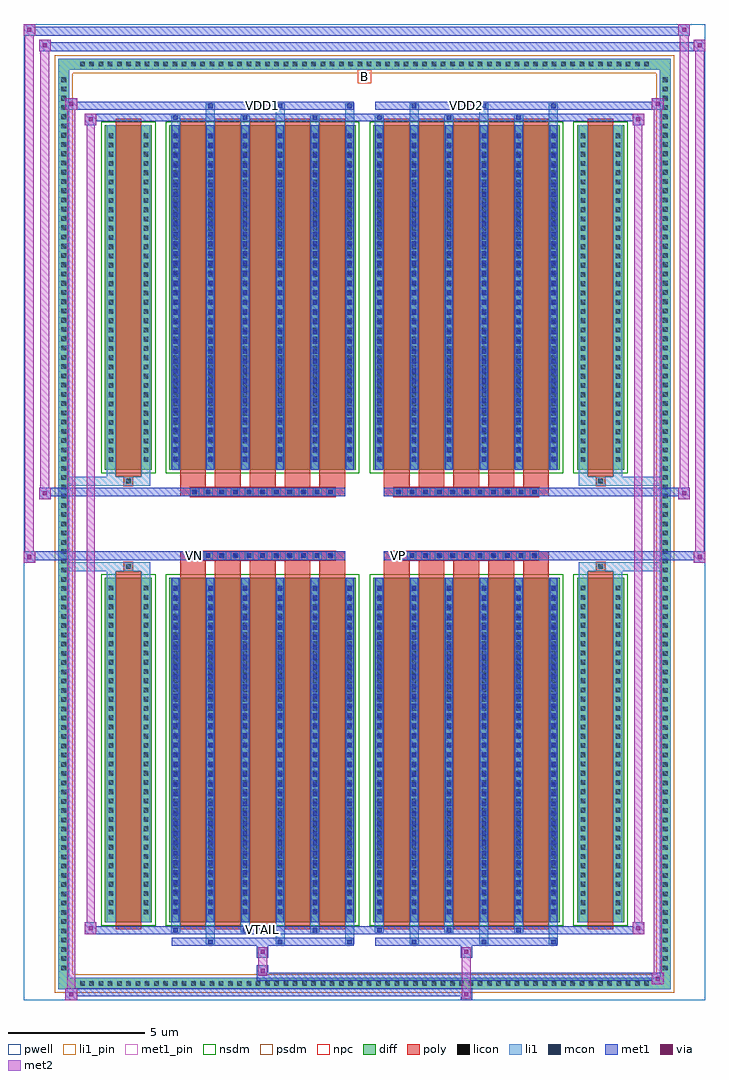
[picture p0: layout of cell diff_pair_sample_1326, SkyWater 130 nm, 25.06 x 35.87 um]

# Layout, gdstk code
import gdstk
lib = gdstk.Library(unit=1e-6, precision=5e-09)
def R(c, l, rs):  # rectangles x0, y0, x1, y1
    for r in rs: c.add(gdstk.rectangle(r[:2], r[2:], *l))
def A(c, l, x, y, w, h, nx, ny, dx, dy):  # array of equal rectangles
    R(c, l, [(x+i*dx, y+j*dy, x+i*dx+w, y+j*dy+h) for i in range(nx) for j in range(ny)])
def P(c, l, *ps):  # polygons
    for p in ps: c.add(gdstk.Polygon(p, *l))
pwell = (64, 44)
diff = (65, 20)
poly = (66, 20)
licon = (66, 44)
li1_pin = (67, 16)
li1 = (67, 20)
mcon = (67, 44)
met1_pin = (68, 16)
met1 = (68, 20)
via = (68, 44)
met2 = (69, 20)
nsdm = (93, 44)
psdm = (94, 20)
npc = (95, 20)

diff_pair_sample_1326 = lib.new_cell('diff_pair_sample_1326')
R(diff_pair_sample_1326, pwell, [(-12.53,-17.5,12.53,18.37), (-9.85,-15.69,-0.01,-0.805), (0.01,-15.69,9.85,-0.805), (-9.85,0.805,-0.01,15.69), (0.01,0.805,9.85,15.69)])
A(diff_pair_sample_1326, diff, -10.575, -17.1, 0.41, 0.41, 62, 2, 0.34, 33.79)
A(diff_pair_sample_1326, diff, -11.26, -16.525, 0.41, 0.41, 1, 97, 0, 0.34)
A(diff_pair_sample_1326, diff, 10.85, -16.525, 0.41, 0.41, 1, 97, 0, 0.34)
R(diff_pair_sample_1326, diff, [(-10.575,-17.1,10.575,-16.69), (-11.26,-16.525,-10.85,16.525), (10.85,-16.525,11.26,16.525), (-9.54,-14.645,-7.81,-1.985), (-7.17,-14.645,-0.32,-1.985), (0.32,-14.645,7.17,-1.985), (7.81,-14.645,9.54,-1.985), (-9.54,1.985,-7.81,14.645), (-7.17,1.985,-0.32,14.645), (0.32,1.985,7.17,14.645), (7.81,1.985,9.54,14.645), (-10.575,16.69,10.575,17.1)])
P(diff_pair_sample_1326, diff, [(11.26,17.1),(-11.26,17.1),(-11.26,-16.69),(-10.85,-16.69),(-10.85,16.69),(10.85,16.69),(10.85,-16.69),(-10.85,-16.69),(-11.26,-16.69),(-11.26,-17.1),(11.26,-17.1)])
A(diff_pair_sample_1326, poly, -6.78, -14.895, 0.95, 13.16, 5, 2, 1.28, 16.63)
A(diff_pair_sample_1326, poly, 0.71, -14.895, 0.95, 13.16, 5, 2, 1.28, 16.63)
A(diff_pair_sample_1326, poly, -6.78, -1.735, 0.95, 0.4, 5, 2, 1.28, 3.07)
A(diff_pair_sample_1326, poly, 0.71, -1.735, 0.95, 0.4, 5, 2, 1.28, 3.07)
A(diff_pair_sample_1326, poly, -6.41, -1.335, 0.33, 0.33, 11, 2, 0.5, 2.34)
A(diff_pair_sample_1326, poly, 1.08, -1.335, 0.33, 0.33, 11, 2, 0.5, 2.34)
R(diff_pair_sample_1326, poly, [(-9.15,-14.895,-8.2,-1.735), (8.2,-14.895,9.15,-1.735), (-8.84,-1.735,-8.51,-1.405), (-8.84,-1.735,-8.51,-1.405), (8.51,-1.735,8.84,-1.405), (8.51,-1.735,8.84,-1.405), (-6.78,-1.335,-0.71,-1.005), (0.71,-1.335,6.78,-1.005), (-6.78,1.005,-0.71,1.335), (0.71,1.005,6.78,1.335), (-8.84,1.405,-8.51,1.735), (-8.84,1.405,-8.51,1.735), (8.51,1.405,8.84,1.735), (8.51,1.405,8.84,1.735), (-9.15,1.735,-8.2,14.895), (8.2,1.735,9.15,14.895)])
A(diff_pair_sample_1326, licon, -10.455, -16.98, 0.17, 0.17, 62, 2, 0.34, 33.79)
A(diff_pair_sample_1326, licon, -11.14, -16.405, 0.17, 0.17, 1, 97, 0, 0.34)
A(diff_pair_sample_1326, licon, 10.97, -16.405, 0.17, 0.17, 1, 97, 0, 0.34)
A(diff_pair_sample_1326, licon, -9.4, -14.35, 0.17, 0.17, 1, 36, 0, 0.34)
A(diff_pair_sample_1326, licon, -8.12, -14.35, 0.17, 0.17, 1, 36, 0, 0.34)
A(diff_pair_sample_1326, licon, -7.03, -14.35, 0.17, 0.17, 6, 36, 1.28, 0.34)
A(diff_pair_sample_1326, licon, 0.46, -14.35, 0.17, 0.17, 6, 36, 1.28, 0.34)
A(diff_pair_sample_1326, licon, 7.95, -14.35, 0.17, 0.17, 1, 36, 0, 0.34)
A(diff_pair_sample_1326, licon, 9.23, -14.35, 0.17, 0.17, 1, 36, 0, 0.34)
A(diff_pair_sample_1326, licon, -6.33, -1.255, 0.17, 0.17, 11, 2, 0.5, 2.34)
A(diff_pair_sample_1326, licon, 1.16, -1.255, 0.17, 0.17, 11, 2, 0.5, 2.34)
A(diff_pair_sample_1326, licon, -9.4, 2.28, 0.17, 0.17, 1, 36, 0, 0.34)
A(diff_pair_sample_1326, licon, -8.12, 2.28, 0.17, 0.17, 1, 36, 0, 0.34)
A(diff_pair_sample_1326, licon, -7.03, 2.28, 0.17, 0.17, 6, 36, 1.28, 0.34)
A(diff_pair_sample_1326, licon, 0.46, 2.28, 0.17, 0.17, 6, 36, 1.28, 0.34)
A(diff_pair_sample_1326, licon, 7.95, 2.28, 0.17, 0.17, 1, 36, 0, 0.34)
A(diff_pair_sample_1326, licon, 9.23, 2.28, 0.17, 0.17, 1, 36, 0, 0.34)
R(diff_pair_sample_1326, licon, [(-8.76,-1.655,-8.59,-1.485), (8.59,-1.655,8.76,-1.485), (-8.76,1.485,-8.59,1.655), (8.59,1.485,8.76,1.655)])
R(diff_pair_sample_1326, li1_pin, [(-0.25,16.19,0.25,16.69)])
A(diff_pair_sample_1326, li1, -10.535, -17.06, 0.33, 0.33, 62, 2, 0.34, 33.79)
A(diff_pair_sample_1326, li1, -11.22, -16.485, 0.33, 0.33, 1, 97, 0, 0.34)
A(diff_pair_sample_1326, li1, 10.89, -16.485, 0.33, 0.33, 1, 97, 0, 0.34)
A(diff_pair_sample_1326, li1, -5.83, -15.45, 0.33, 0.805, 3, 2, 2.56, 30.095)
A(diff_pair_sample_1326, li1, -5.75, -15.45, 0.17, 0.17, 3, 2, 2.56, 30.73)
A(diff_pair_sample_1326, li1, 1.66, -15.45, 0.33, 0.805, 3, 2, 2.56, 30.095)
A(diff_pair_sample_1326, li1, 1.74, -15.45, 0.17, 0.17, 3, 2, 2.56, 30.73)
A(diff_pair_sample_1326, li1, -7.11, -15.02, 0.33, 0.375, 3, 2, 2.56, 29.665)
A(diff_pair_sample_1326, li1, -7.03, -15.02, 0.17, 0.17, 3, 2, 2.56, 29.87)
A(diff_pair_sample_1326, li1, 0.38, -15.02, 0.33, 0.375, 3, 2, 2.56, 29.665)
A(diff_pair_sample_1326, li1, 0.46, -15.02, 0.17, 0.17, 3, 2, 2.56, 29.87)
A(diff_pair_sample_1326, li1, -7.11, -14.645, 0.33, 12.66, 6, 2, 1.28, 16.63)
A(diff_pair_sample_1326, li1, 0.38, -14.645, 0.33, 12.66, 6, 2, 1.28, 16.63)
A(diff_pair_sample_1326, li1, -9.48, -14.43, 0.33, 0.33, 1, 36, 0, 0.34)
A(diff_pair_sample_1326, li1, -8.2, -14.43, 0.33, 0.33, 1, 36, 0, 0.34)
A(diff_pair_sample_1326, li1, -7.11, -14.43, 0.33, 0.33, 6, 36, 1.28, 0.34)
A(diff_pair_sample_1326, li1, 0.38, -14.43, 0.33, 0.33, 6, 36, 1.28, 0.34)
A(diff_pair_sample_1326, li1, 7.87, -14.43, 0.33, 0.33, 1, 36, 0, 0.34)
A(diff_pair_sample_1326, li1, 9.15, -14.43, 0.33, 0.33, 1, 36, 0, 0.34)
A(diff_pair_sample_1326, li1, -7.03, -14.34, 0.17, 0.17, 6, 34, 1.28, 0.36)
A(diff_pair_sample_1326, li1, -7.03, -14.34, 0.17, 12.05, 6, 2, 1.28, 16.63)
A(diff_pair_sample_1326, li1, 0.46, -14.34, 0.17, 0.17, 6, 34, 1.28, 0.36)
A(diff_pair_sample_1326, li1, 0.46, -14.34, 0.17, 12.05, 6, 2, 1.28, 16.63)
A(diff_pair_sample_1326, li1, -6.41, -1.335, 0.33, 0.33, 11, 2, 0.5, 2.34)
A(diff_pair_sample_1326, li1, 1.08, -1.335, 0.33, 0.33, 11, 2, 0.5, 2.34)
A(diff_pair_sample_1326, li1, -9.48, 2.2, 0.33, 0.33, 1, 36, 0, 0.34)
A(diff_pair_sample_1326, li1, -8.2, 2.2, 0.33, 0.33, 1, 36, 0, 0.34)
A(diff_pair_sample_1326, li1, -7.11, 2.2, 0.33, 0.33, 6, 36, 1.28, 0.34)
A(diff_pair_sample_1326, li1, 0.38, 2.2, 0.33, 0.33, 6, 36, 1.28, 0.34)
A(diff_pair_sample_1326, li1, 7.87, 2.2, 0.33, 0.33, 1, 36, 0, 0.34)
A(diff_pair_sample_1326, li1, 9.15, 2.2, 0.33, 0.33, 1, 36, 0, 0.34)
A(diff_pair_sample_1326, li1, -7.03, 2.29, 0.17, 0.17, 6, 34, 1.28, 0.36)
A(diff_pair_sample_1326, li1, 0.46, 2.29, 0.17, 0.17, 6, 34, 1.28, 0.36)
R(diff_pair_sample_1326, li1, [(-11.26,-17.1,-10.85,-16.69), (-11.26,-17.1,-10.85,-16.69), (-10.85,-17.1,10.85,-16.69), (10.85,-17.1,11.26,-16.69), (10.85,-17.1,11.26,-16.69), (-11.26,-16.69,-10.85,16.69), (10.85,-16.69,11.26,16.69), (-9.48,-14.645,-9.15,-1.985), (-8.2,-14.645,-7.87,-1.985), (7.87,-14.645,8.2,-1.985), (9.15,-14.645,9.48,-1.985), (-9.48,-1.985,-9.15,-1.405), (-8.2,-1.985,-7.87,-1.405), (7.87,-1.985,8.2,-1.405), (9.15,-1.985,9.48,-1.405), (-11.26,-1.735,-8.84,-1.405), (-9.48,-1.735,-8.84,-1.405), (-8.84,-1.735,-8.51,-1.405), (-8.51,-1.735,-7.87,-1.405), (7.87,-1.735,8.51,-1.405), (8.51,-1.735,8.84,-1.405), (8.51,-1.735,11.26,-1.405), (8.84,-1.735,9.48,-1.405), (-11.26,1.405,-8.84,1.735), (-9.48,1.405,-8.84,1.735), (-9.48,1.405,-9.15,1.985), (-8.84,1.405,-8.51,1.735), (-8.51,1.405,-7.87,1.735), (-8.2,1.405,-7.87,1.985), (7.87,1.405,8.51,1.735), (7.87,1.405,8.2,1.985), (8.51,1.405,8.84,1.735), (8.51,1.405,11.26,1.735), (8.84,1.405,9.48,1.735), (9.15,1.405,9.48,1.985), (-9.48,1.985,-9.15,14.645), (-8.2,1.985,-7.87,14.645), (7.87,1.985,8.2,14.645), (9.15,1.985,9.48,14.645), (-11.26,16.69,-10.85,17.1), (-11.26,16.69,-10.85,17.1), (-10.85,16.69,10.85,17.1), (10.85,16.69,11.26,17.1), (10.85,16.69,11.26,17.1)])
A(diff_pair_sample_1326, mcon, -5.75, -15.45, 0.17, 0.17, 3, 2, 2.56, 30.73)
A(diff_pair_sample_1326, mcon, 1.74, -15.45, 0.17, 0.17, 3, 2, 2.56, 30.73)
A(diff_pair_sample_1326, mcon, -7.03, -15.02, 0.17, 0.17, 3, 2, 2.56, 29.87)
A(diff_pair_sample_1326, mcon, 0.46, -15.02, 0.17, 0.17, 3, 2, 2.56, 29.87)
A(diff_pair_sample_1326, mcon, -7.03, -14.34, 0.17, 0.17, 6, 34, 1.28, 0.36)
A(diff_pair_sample_1326, mcon, 0.46, -14.34, 0.17, 0.17, 6, 34, 1.28, 0.36)
A(diff_pair_sample_1326, mcon, -6.33, -1.255, 0.17, 0.17, 11, 2, 0.5, 2.34)
A(diff_pair_sample_1326, mcon, 1.16, -1.255, 0.17, 0.17, 11, 2, 0.5, 2.34)
A(diff_pair_sample_1326, mcon, -7.03, 2.29, 0.17, 0.17, 6, 34, 1.28, 0.36)
A(diff_pair_sample_1326, mcon, 0.46, 2.29, 0.17, 0.17, 6, 34, 1.28, 0.36)
R(diff_pair_sample_1326, met1_pin, [(-3.88,-15.06,-3.61,-14.79), (-6.38,-1.295,-6.11,-1.025), (1.11,-1.295,1.38,-1.025), (-3.88,15.24,-3.61,15.51), (3.61,15.24,3.88,15.51)])
A(diff_pair_sample_1326, met1, -5.81, -15.51, 0.29, 0.29, 3, 2, 2.56, 30.73)
A(diff_pair_sample_1326, met1, 1.68, -15.51, 0.29, 0.29, 3, 2, 2.56, 30.73)
A(diff_pair_sample_1326, met1, -7.09, -15.08, 0.29, 0.29, 3, 2, 2.56, 29.87)
A(diff_pair_sample_1326, met1, 0.4, -15.08, 0.29, 0.29, 3, 2, 2.56, 29.87)
A(diff_pair_sample_1326, met1, -7.09, -14.645, 0.29, 12.66, 6, 2, 1.28, 16.63)
A(diff_pair_sample_1326, met1, 0.4, -14.645, 0.29, 12.66, 6, 2, 1.28, 16.63)
A(diff_pair_sample_1326, met1, -7.09, -14.4, 0.29, 0.29, 6, 34, 1.28, 0.36)
A(diff_pair_sample_1326, met1, 0.4, -14.4, 0.29, 0.29, 6, 34, 1.28, 0.36)
A(diff_pair_sample_1326, met1, -6.39, -1.315, 0.29, 0.29, 11, 2, 0.5, 2.34)
A(diff_pair_sample_1326, met1, 1.1, -1.315, 0.29, 0.29, 11, 2, 0.5, 2.34)
A(diff_pair_sample_1326, met1, -7.09, 2.23, 0.29, 0.29, 6, 34, 1.28, 0.36)
A(diff_pair_sample_1326, met1, 0.4, 2.23, 0.29, 0.29, 6, 34, 1.28, 0.36)
R(diff_pair_sample_1326, met1, [(-10.99,-17.5,-10.56,-17.07), (3.53,-17.5,3.96,-17.07), (-10.99,-17.36,3.96,-17.07), (10.56,-16.93,10.99,-16.5), (-3.96,-16.79,10.99,-16.5), (-3.96,-16.65,-3.53,-16.22), (-3.96,-15.94,-3.53,-15.51), (3.53,-15.94,3.96,-15.51), (-7.09,-15.51,-0.4,-15.22), (0.4,-15.51,7.09,-15.22), (-10.28,-15.08,-9.85,-14.65), (-10.28,-15.08,-7.09,-14.79), (-7.09,-15.08,-0.4,-14.79), (-0.4,-15.08,0.4,-14.79), (0.4,-15.08,7.09,-14.79), (7.09,-15.08,10.28,-14.79), (9.85,-15.08,10.28,-14.65), (-12.53,-1.435,-12.1,-1.005), (12.1,-1.435,12.53,-1.005), (-12.53,-1.335,-0.71,-1.005), (-6.78,-1.335,-0.71,-1.005), (0.71,-1.335,6.78,-1.005), (0.71,-1.335,12.53,-1.005), (-11.96,0.905,-11.53,1.335), (11.53,0.905,11.96,1.335), (-11.96,1.005,-6.78,1.335), (-6.78,1.005,-0.71,1.335), (0.71,1.005,6.78,1.335), (6.78,1.005,11.96,1.335), (-10.28,14.65,-9.85,15.08), (9.85,14.65,10.28,15.08), (-10.28,14.79,-7.09,15.08), (-7.09,14.79,-0.4,15.08), (-0.4,14.79,0.4,15.08), (0.4,14.79,7.09,15.08), (7.09,14.79,10.28,15.08), (-10.99,15.22,-10.56,15.65), (-10.99,15.22,-7.09,15.51), (-7.09,15.22,-0.4,15.51), (0.4,15.22,7.09,15.51), (7.09,15.22,10.99,15.51), (10.56,15.22,10.99,15.65), (-11.96,17.37,-11.53,17.8), (-11.96,17.37,-9.85,17.7), (-9.85,17.37,9.85,17.7), (9.85,17.37,12.53,17.7), (12.1,17.37,12.53,17.8), (-12.53,17.94,-12.1,18.37), (-12.53,17.94,-9.85,18.27), (-9.85,17.94,9.85,18.27), (9.85,17.94,11.96,18.27), (11.53,17.94,11.96,18.37)])
R(diff_pair_sample_1326, via, [(-10.85,-17.36,-10.7,-17.21), (3.67,-17.36,3.82,-17.21), (10.7,-16.79,10.85,-16.64), (-3.82,-16.51,-3.67,-16.36), (-3.82,-15.8,-3.67,-15.65), (3.67,-15.8,3.82,-15.65), (-10.14,-14.94,-9.99,-14.79), (9.99,-14.94,10.14,-14.79), (-12.39,-1.295,-12.24,-1.145), (12.24,-1.295,12.39,-1.145), (-11.82,1.045,-11.67,1.195), (11.67,1.045,11.82,1.195), (-10.14,14.79,-9.99,14.94), (9.99,14.79,10.14,14.94), (-10.85,15.36,-10.7,15.51), (10.7,15.36,10.85,15.51), (-11.82,17.51,-11.67,17.66), (12.24,17.51,12.39,17.66), (-12.39,18.08,-12.24,18.23), (11.67,18.08,11.82,18.23)])
R(diff_pair_sample_1326, met2, [(-10.99,-17.5,-10.56,-17.07), (-10.92,-17.5,-10.63,15.65), (-10.63,-17.5,-10.56,-17.07), (-10.94,-17.45,-10.61,-17.12), (3.58,-17.45,3.91,-17.12), (3.58,-17.12,3.91,-15.89), (10.56,-16.93,10.99,-16.5), (10.63,-16.93,10.92,15.65), (10.92,-16.93,10.99,-16.5), (10.61,-16.88,10.94,-16.55), (-3.91,-16.6,-3.58,-16.27), (-3.91,-16.27,-3.58,-15.89), (-3.91,-15.89,-3.58,-15.56), (3.58,-15.89,3.91,-15.56), (-10.28,-15.08,-9.85,-14.65), (-10.21,-15.08,-9.92,15.08), (-9.92,-15.08,-9.85,-14.65), (9.85,-15.08,10.28,-14.65), (9.92,-15.08,10.21,15.08), (10.21,-15.08,10.28,-14.65), (-10.23,-15.03,-9.9,-14.7), (9.9,-15.03,10.23,-14.7), (-12.53,-1.435,-12.1,-1.005), (-12.48,-1.435,-12.15,18.37), (-12.15,-1.435,-12.1,-1.005), (12.1,-1.435,12.53,-1.005), (12.15,-1.435,12.48,17.8), (12.48,-1.435,12.53,-1.005), (-12.48,-1.385,-12.15,-1.055), (12.15,-1.385,12.48,-1.055), (-11.96,0.905,-11.53,1.335), (-11.91,0.905,-11.58,17.8), (-11.58,0.905,-11.53,1.335), (11.53,0.905,11.96,1.335), (11.58,0.905,11.91,18.37), (11.91,0.905,11.96,1.335), (-11.91,0.955,-11.58,1.285), (11.58,0.955,11.91,1.285), (-10.28,14.65,-9.85,15.08), (-9.92,14.65,-9.85,15.08), (9.85,14.65,10.28,15.08), (10.21,14.65,10.28,15.08), (-10.23,14.7,-9.9,15.03), (9.9,14.7,10.23,15.03), (-10.99,15.22,-10.56,15.65), (-10.63,15.22,-10.56,15.65), (10.56,15.22,10.99,15.65), (10.92,15.22,10.99,15.65), (-10.94,15.27,-10.61,15.6), (10.61,15.27,10.94,15.6), (-11.96,17.37,-11.53,17.8), (-11.58,17.37,-11.53,17.8), (12.1,17.37,12.53,17.8), (12.48,17.37,12.53,17.8), (-11.91,17.42,-11.58,17.75), (12.15,17.42,12.48,17.75), (-12.53,17.94,-12.1,18.37), (-12.15,17.94,-12.1,18.37), (11.53,17.94,11.96,18.37), (11.91,17.94,11.96,18.37), (-12.48,17.99,-12.15,18.32), (11.58,17.99,11.91,18.32)])
R(diff_pair_sample_1326, nsdm, [(-9.67,-14.775,-7.68,-1.855), (-7.3,-14.775,-0.19,-1.855), (0.19,-14.775,7.3,-1.855), (7.68,-14.775,9.67,-1.855), (-9.67,1.855,-7.68,14.775), (-7.3,1.855,-0.19,14.775), (0.19,1.855,7.3,14.775), (7.68,1.855,9.67,14.775)])
P(diff_pair_sample_1326, psdm, [(11.39,17.23),(-11.39,17.23),(-11.39,-16.56),(-10.72,-16.56),(-10.72,16.56),(10.72,16.56),(10.72,-16.56),(-10.72,-16.56),(-11.39,-16.56),(-11.39,-17.23),(11.39,-17.23)])
A(diff_pair_sample_1326, npc, -6.43, -1.355, 0.37, 0.37, 11, 2, 0.5, 2.34)
A(diff_pair_sample_1326, npc, 1.06, -1.355, 0.37, 0.37, 11, 2, 0.5, 2.34)
R(diff_pair_sample_1326, npc, [(-8.86,-1.755,-8.49,-1.385), (8.49,-1.755,8.86,-1.385), (-6.43,-1.355,-5.56,-0.985), (-6.43,-1.355,-5.56,-0.985), (-5.93,-1.355,-5.06,-0.985), (-5.93,-1.355,-5.06,-0.985), (-5.43,-1.355,-4.56,-0.985), (-5.43,-1.355,-4.56,-0.985), (-4.93,-1.355,-4.06,-0.985), (-4.93,-1.355,-4.06,-0.985), (-4.43,-1.355,-3.56,-0.985), (-4.43,-1.355,-3.56,-0.985), (-3.93,-1.355,-3.06,-0.985), (-3.93,-1.355,-3.06,-0.985), (-3.43,-1.355,-2.56,-0.985), (-3.43,-1.355,-2.56,-0.985), (-2.93,-1.355,-2.06,-0.985), (-2.93,-1.355,-2.06,-0.985), (-2.43,-1.355,-1.56,-0.985), (-2.43,-1.355,-1.56,-0.985), (-1.93,-1.355,-1.06,-0.985), (-1.93,-1.355,-1.06,-0.985), (1.06,-1.355,1.93,-0.985), (1.06,-1.355,1.93,-0.985), (1.56,-1.355,2.43,-0.985), (1.56,-1.355,2.43,-0.985), (2.06,-1.355,2.93,-0.985), (2.06,-1.355,2.93,-0.985), (2.56,-1.355,3.43,-0.985), (2.56,-1.355,3.43,-0.985), (3.06,-1.355,3.93,-0.985), (3.06,-1.355,3.93,-0.985), (3.56,-1.355,4.43,-0.985), (3.56,-1.355,4.43,-0.985), (4.06,-1.355,4.93,-0.985), (4.06,-1.355,4.93,-0.985), (4.56,-1.355,5.43,-0.985), (4.56,-1.355,5.43,-0.985), (5.06,-1.355,5.93,-0.985), (5.06,-1.355,5.93,-0.985), (5.56,-1.355,6.43,-0.985), (5.56,-1.355,6.43,-0.985), (-6.43,0.985,-5.56,1.355), (-6.43,0.985,-5.56,1.355), (-5.93,0.985,-5.06,1.355), (-5.93,0.985,-5.06,1.355), (-5.43,0.985,-4.56,1.355), (-5.43,0.985,-4.56,1.355), (-4.93,0.985,-4.06,1.355), (-4.93,0.985,-4.06,1.355), (-4.43,0.985,-3.56,1.355), (-4.43,0.985,-3.56,1.355), (-3.93,0.985,-3.06,1.355), (-3.93,0.985,-3.06,1.355), (-3.43,0.985,-2.56,1.355), (-3.43,0.985,-2.56,1.355), (-2.93,0.985,-2.06,1.355), (-2.93,0.985,-2.06,1.355), (-2.43,0.985,-1.56,1.355), (-2.43,0.985,-1.56,1.355), (-1.93,0.985,-1.06,1.355), (-1.93,0.985,-1.06,1.355), (1.06,0.985,1.93,1.355), (1.06,0.985,1.93,1.355), (1.56,0.985,2.43,1.355), (1.56,0.985,2.43,1.355), (2.06,0.985,2.93,1.355), (2.06,0.985,2.93,1.355), (2.56,0.985,3.43,1.355), (2.56,0.985,3.43,1.355), (3.06,0.985,3.93,1.355), (3.06,0.985,3.93,1.355), (3.56,0.985,4.43,1.355), (3.56,0.985,4.43,1.355), (4.06,0.985,4.93,1.355), (4.06,0.985,4.93,1.355), (4.56,0.985,5.43,1.355), (4.56,0.985,5.43,1.355), (5.06,0.985,5.93,1.355), (5.06,0.985,5.93,1.355), (5.56,0.985,6.43,1.355), (5.56,0.985,6.43,1.355), (-8.86,1.385,-8.49,1.755), (8.49,1.385,8.86,1.755)])
diff_pair_sample_1326.add(gdstk.Label('VTAIL', (-3.745,-14.925), layer=68, texttype=5))
diff_pair_sample_1326.add(gdstk.Label('VN', (-6.245,-1.16), layer=68, texttype=5))
diff_pair_sample_1326.add(gdstk.Label('VP', (1.245,-1.16), layer=68, texttype=5))
diff_pair_sample_1326.add(gdstk.Label('B', (0,16.44), layer=67, texttype=5))
diff_pair_sample_1326.add(gdstk.Label('VDD2', (3.745,15.375), layer=68, texttype=5))
diff_pair_sample_1326.add(gdstk.Label('VDD1', (-3.745,15.375), layer=68, texttype=5))

lib.write_gds('diff_pair_sample_1326.gds')
